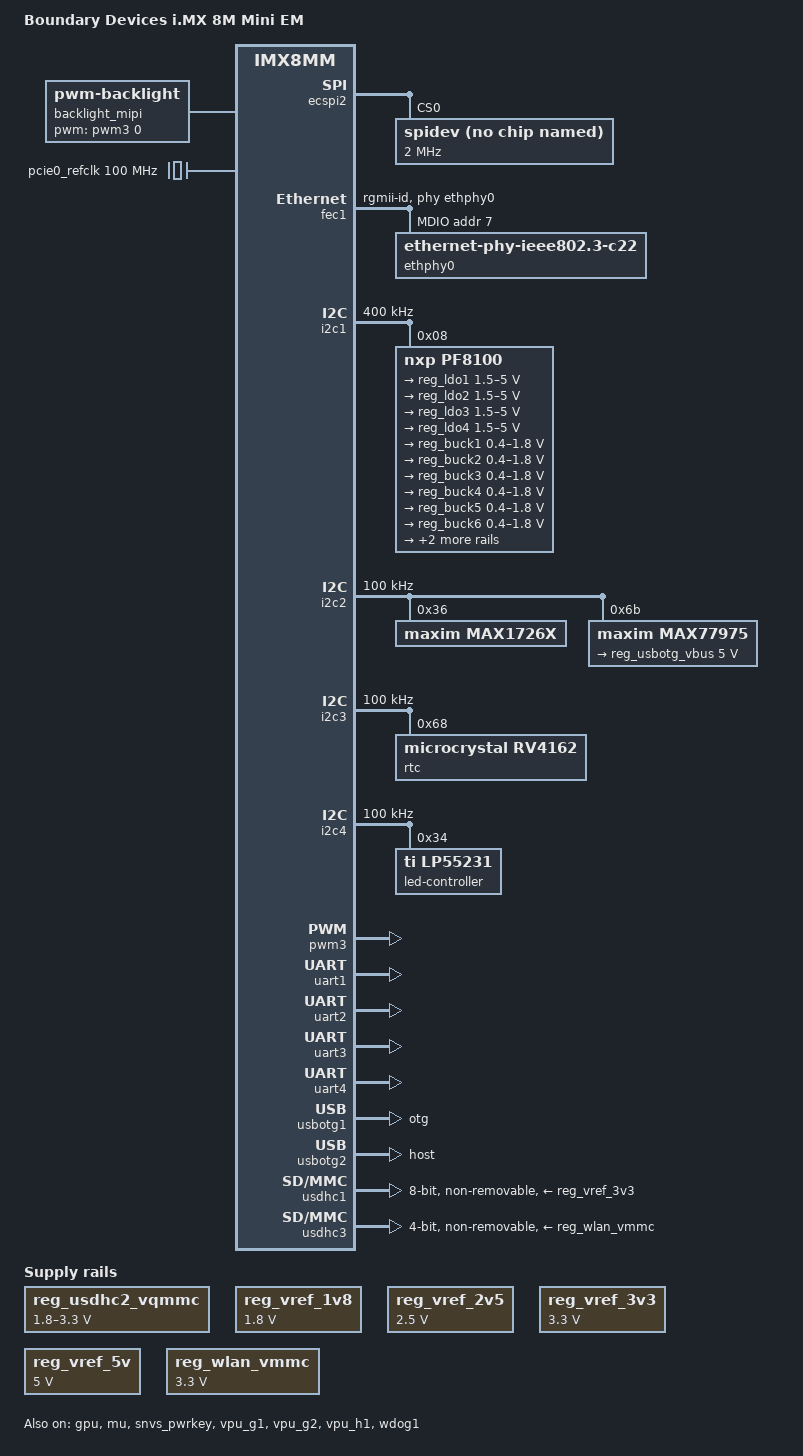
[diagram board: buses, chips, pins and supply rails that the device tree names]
// SPDX-License-Identifier: (GPL-2.0+ OR MIT)
/*
 * Copyright 2022 Boundary Devices
 */

/dts-v1/;

#include "imx8mm.dtsi"

&iomuxc {
	pinctrl-names = "default";
	pinctrl-0 = <&pinctrl_hog>;

	pinctrl_bt_rfkill: bt-rfkillgrp {
		fsl,pins = <
#define GP_BT_RFKILL_RESET	<&gpio4 25 GPIO_ACTIVE_LOW>
			MX8MM_IOMUXC_SAI2_TXC_GPIO4_IO25	0x119
		>;
	};

	pinctrl_bt2_rfkill: bt2-rfkillgrp {
		fsl,pins = <
#define GP_BT2_RFKILL_RESET	<&gpio4 1 GPIO_ACTIVE_LOW>
			MX8MM_IOMUXC_SAI1_RXC_GPIO4_IO1		0x119
		>;
	};

	pinctrl_ecspi2: ecspi2grp {
		fsl,pins = <
#define GP_ECSPI2_CS0	<&gpio5 13 GPIO_ACTIVE_LOW>
			MX8MM_IOMUXC_ECSPI2_SS0_GPIO5_IO13	0x140
			MX8MM_IOMUXC_ECSPI2_MISO_ECSPI2_MISO	0x19
			MX8MM_IOMUXC_ECSPI2_SCLK_ECSPI2_SCLK	0x19
			MX8MM_IOMUXC_ECSPI2_MOSI_ECSPI2_MOSI	0x19
			MX8MM_IOMUXC_SAI5_RXC_GPIO3_IO20	0x1c0
		>;
	};

	pinctrl_fec1: fec1grp {
		fsl,pins = <
			/* PAD_CTL_ODE is screwy on 8mm mini, avoid it */
			MX8MM_IOMUXC_ENET_MDC_ENET1_MDC			0x140
			MX8MM_IOMUXC_ENET_MDIO_ENET1_MDIO		0x00
			MX8MM_IOMUXC_ENET_RD0_ENET1_RGMII_RD0		0x91
			MX8MM_IOMUXC_ENET_RD1_ENET1_RGMII_RD1		0x91
			MX8MM_IOMUXC_ENET_RD2_ENET1_RGMII_RD2		0x91
			MX8MM_IOMUXC_ENET_RD3_ENET1_RGMII_RD3		0x91
			MX8MM_IOMUXC_ENET_RXC_ENET1_RGMII_RXC		0x91
			MX8MM_IOMUXC_ENET_RX_CTL_ENET1_RGMII_RX_CTL	0x91
			MX8MM_IOMUXC_ENET_TD0_ENET1_RGMII_TD0		0x1f
			MX8MM_IOMUXC_ENET_TD1_ENET1_RGMII_TD1		0x1f
			MX8MM_IOMUXC_ENET_TD2_ENET1_RGMII_TD2		0x1f
			MX8MM_IOMUXC_ENET_TD3_ENET1_RGMII_TD3		0x1f
			MX8MM_IOMUXC_ENET_TXC_ENET1_RGMII_TXC		0x1f
			MX8MM_IOMUXC_ENET_TX_CTL_ENET1_RGMII_TX_CTL	0x1f
#define GP_FEC1_RESET	<&gpio4 28 GPIO_ACTIVE_LOW>
			MX8MM_IOMUXC_SAI3_RXFS_GPIO4_IO28		0x159
#define GPIRQ_FEC1_PHY	<&gpio4 30 IRQ_TYPE_LEVEL_LOW>
			MX8MM_IOMUXC_SAI3_RXD_GPIO4_IO30		0x1c0
		>;
	};

	pinctrl_hog: hoggrp {
		fsl,pins = <
			MX8MM_IOMUXC_SPDIF_RX_GPIO5_IO4			0x180	/* BGM Coex 1 */
			MX8MM_IOMUXC_SPDIF_EXT_CLK_GPIO5_IO5		0x180	/* BGM Coex 2 */
			/* test points */
			MX8MM_IOMUXC_SAI1_RXD2_GPIO4_IO4		0x1c0	/* tp2 */
			MX8MM_IOMUXC_SAI1_RXD4_GPIO4_IO6		0x1c0	/* tp7 */
			MX8MM_IOMUXC_SAI1_RXD6_GPIO4_IO8		0x1c0	/* tp4 */
		>;
	};

	pinctrl_i2c1: i2c1grp {
		fsl,pins = <
			MX8MM_IOMUXC_I2C1_SCL_I2C1_SCL			0x400001c3
			MX8MM_IOMUXC_I2C1_SDA_I2C1_SDA			0x400001c3
		>;
	};

	pinctrl_i2c1_1: i2c1-1grp {
		fsl,pins = <
#define GP_I2C1_SCL	<&gpio5 14 GPIO_OPEN_DRAIN>
			MX8MM_IOMUXC_I2C1_SCL_GPIO5_IO14		0x400001c3
#define GP_I2C1_SDA	<&gpio5 15 GPIO_OPEN_DRAIN>
			MX8MM_IOMUXC_I2C1_SDA_GPIO5_IO15		0x400001c3
		>;
	};

	pinctrl_i2c1_pf8100: i2c1-pf8100grp {
		fsl,pins = <
#define GP_I2C1_PF8100_EWARN	<&gpio3 3 GPIO_ACTIVE_LOW>
			MX8MM_IOMUXC_NAND_CE2_B_GPIO3_IO3		0x149
#define GP_I2C1_PF8100_FAULT	<&gpio3 4 GPIO_ACTIVE_LOW>
			MX8MM_IOMUXC_NAND_CE3_B_GPIO3_IO4		0x149
		>;
	};

	pinctrl_i2c2: i2c2grp {
		fsl,pins = <
			MX8MM_IOMUXC_I2C2_SCL_I2C2_SCL			0x400001c3
			MX8MM_IOMUXC_I2C2_SDA_I2C2_SDA			0x400001c3
		>;
	};

	pinctrl_i2c2_1: i2c2-1grp {
		fsl,pins = <
#define GP_I2C2_SCL	<&gpio5 16 GPIO_OPEN_DRAIN>
			MX8MM_IOMUXC_I2C2_SCL_GPIO5_IO16		0x400001c3
#define GP_I2C2_SDA	<&gpio5 17 GPIO_OPEN_DRAIN>
			MX8MM_IOMUXC_I2C2_SDA_GPIO5_IO17		0x400001c3
		>;
	};

	pinctrl_i2c2_max1726x: i2c2-max1726xgrp {
		fsl,pins = <
#define GPIRQ_MAX1726X	<&gpio4 13 IRQ_TYPE_LEVEL_LOW>
			MX8MM_IOMUXC_SAI1_TXD1_GPIO4_IO13		0x1c3
		>;
	};

	pinctrl_i2c2_max77975: i2c2-max77975grp {
		fsl,pins = <
#define GP_MAX77975_STAT	<&gpio4 14 GPIO_ACTIVE_LOW>
			MX8MM_IOMUXC_SAI1_TXD2_GPIO4_IO14		0x1c0
#define GPIRQ_MAX77975	<&gpio4 15 IRQ_TYPE_LEVEL_LOW>
			MX8MM_IOMUXC_SAI1_TXD3_GPIO4_IO15		0x1c9
	/* Also to MSP430*/
#define GP_DISABLE_BATT	<&gpio4 16 GPIO_ACTIVE_HIGH>
			MX8MM_IOMUXC_SAI1_TXD4_GPIO4_IO16		0x06
#define GP_MAX77975_EXTSM	<&gpio4 17 GPIO_ACTIVE_HIGH>
			MX8MM_IOMUXC_SAI1_TXD5_GPIO4_IO17		0x1c0
#define GP_SUSPEND	<&gpio4 18 GPIO_ACTIVE_HIGH>
			MX8MM_IOMUXC_SAI1_TXD6_GPIO4_IO18		0x06
	/* MSP430*/
#define GP_MSP430_PG		<&gpio4 19 IRQ_TYPE_LEVEL_LOW>
			MX8MM_IOMUXC_SAI1_TXD7_GPIO4_IO19		0x1c0
#define GP_MSP430_AWAKEN	<&gpio4 0 IRQ_TYPE_LEVEL_LOW>
			MX8MM_IOMUXC_SAI1_RXFS_GPIO4_IO0		0x1c0
		>;
	};

	pinctrl_i2c3: i2c3grp {
		fsl,pins = <
			MX8MM_IOMUXC_I2C3_SCL_I2C3_SCL			0x400001c3
			MX8MM_IOMUXC_I2C3_SDA_I2C3_SDA			0x400001c3
		>;
	};

	pinctrl_i2c3_1: i2c3-1grp {
		fsl,pins = <
#define GP_I2C3_SCL	<&gpio5 18 GPIO_OPEN_DRAIN>
			MX8MM_IOMUXC_I2C3_SCL_GPIO5_IO18		0x400001c3
#define GP_I2C3_SDA	<&gpio5 19 GPIO_OPEN_DRAIN>
			MX8MM_IOMUXC_I2C3_SDA_GPIO5_IO19		0x400001c3
		>;
	};

	pinctrl_i2c3_rv4162: i2c3-rv4162grp {
		fsl,pins = <
#define GPIRQ_RV4162		<&gpio3 25 IRQ_TYPE_LEVEL_LOW>
			MX8MM_IOMUXC_SAI5_MCLK_GPIO3_IO25		0x1c0
		>;
	};

	pinctrl_i2c4: i2c4grp {
		fsl,pins = <
			MX8MM_IOMUXC_I2C4_SCL_I2C4_SCL			0x400001c3
			MX8MM_IOMUXC_I2C4_SDA_I2C4_SDA			0x400001c3
		>;
	};

	pinctrl_i2c4_1: i2c4-1grp {
		fsl,pins = <
#define GP_I2C4_SCL	<&gpio5 20 GPIO_OPEN_DRAIN>
			MX8MM_IOMUXC_I2C4_SCL_GPIO5_IO20		0x400001c3
#define GP_I2C4_SDA	<&gpio5 21 GPIO_OPEN_DRAIN>
			MX8MM_IOMUXC_I2C4_SDA_GPIO5_IO21		0x400001c3
		>;
	};

	pinctrl_i2c4_lp55231: i2c4-lp55231grp {
		fsl,pins = <
#define GP_LED3_EN	<&gpio3 23 GPIO_ACTIVE_HIGH>
			MX8MM_IOMUXC_SAI5_RXD2_GPIO3_IO23		0x140
#define GPIRQ_LED3	<&gpio3 24 IRQ_TYPE_LEVEL_LOW>
			MX8MM_IOMUXC_SAI5_RXD3_GPIO3_IO24		0x140
		>;
	};

	pinctrl_mipi_ltk080a60a004t: mipi-ltk080a60a004tgrp {
		fsl,pins = <
#define GP_LTK08_MIPI_EN	<&gpio1 1 GPIO_ACTIVE_HIGH>
			MX8MM_IOMUXC_GPIO1_IO01_GPIO1_IO1		0x116
		>;
	};

	pinctrl_pcie0: pcie0grp {
		fsl,pins = <
#define GP_PCIE0_RESET		<&gpio4 31 (GPIO_OPEN_DRAIN | GPIO_ACTIVE_LOW)>
			MX8MM_IOMUXC_SAI3_TXFS_GPIO4_IO31		0x100
#define GP_PCIE0_DISABLE	<&gpio3 21 (GPIO_OPEN_DRAIN | GPIO_ACTIVE_LOW)>
			MX8MM_IOMUXC_SAI5_RXD0_GPIO3_IO21		0x100
		>;
	};

	pinctrl_pwm3: pwm3grp {
		fsl,pins = <
			MX8MM_IOMUXC_SPDIF_TX_PWM3_OUT			0x16
		>;
	};

	pinctrl_reg_usdhc2_vqmmc: reg-usdhc2-vqmmcgrp {
		fsl,pins = <
#define GP_USDHC2_VSEL	<&gpio3 2 GPIO_ACTIVE_HIGH>
			MX8MM_IOMUXC_NAND_CE1_B_GPIO3_IO2		0x16
		>;
	};

	pinctrl_reg_wlan_vmmc: reg-wlan-vmmcgrp {
		fsl,pins = <
#define GP_REG_WLAN_VMMC	<&gpio4 26 GPIO_ACTIVE_HIGH>
			MX8MM_IOMUXC_SAI2_TXD0_GPIO4_IO26		0x16
		>;
	};

	pinctrl_sn65dsi83: sn65dsi83grp {
		fsl,pins = <
#define GPIRQ_SN65DSI83	<&gpio1 1 IRQ_TYPE_LEVEL_HIGH>
			MX8MM_IOMUXC_GPIO1_IO01_GPIO1_IO1		0x04
#define GP_SN65DSI83_EN	<&gpio1 9 GPIO_ACTIVE_HIGH>
			MX8MM_IOMUXC_GPIO1_IO09_GPIO1_IO9		0x106
		>;
	};

	pinctrl_ts_ft5x06: ts-ft5x06grp {
		fsl,pins = <
#define GPIRQ_TS_FT5X06	<&gpio1 6 IRQ_TYPE_EDGE_FALLING>
#define GP_TS_FT5X06_WAKE	<&gpio1 6 GPIO_ACTIVE_LOW>
			MX8MM_IOMUXC_GPIO1_IO06_GPIO1_IO6		0x149
#define GP_TS_FT5X06_RESET	<&gpio1 7 GPIO_ACTIVE_LOW>
			MX8MM_IOMUXC_GPIO1_IO07_GPIO1_IO7		0x109
		>;
	};

	pinctrl_ts_ft7250: ts-ft7250grp {
		fsl,pins = <
#define GPIRQ_TS_FT7250	<&gpio1 6 IRQ_TYPE_EDGE_FALLING>
#define GP_TS_FT7250_WAKE	<&gpio1 6 GPIO_ACTIVE_LOW>
			MX8MM_IOMUXC_GPIO1_IO06_GPIO1_IO6		0x149
#define GP_TS_FT7250_RESET	<&gpio1 7 GPIO_ACTIVE_LOW>
			MX8MM_IOMUXC_GPIO1_IO07_GPIO1_IO7		0x109
		>;
	};

	pinctrl_ts_gt911: ts-gt911grp {
		fsl,pins = <
#define GPIRQ_GT911 		<&gpio1 6 IRQ_TYPE_LEVEL_HIGH>
#define GP_GT911_IRQ 		<&gpio1 6 GPIO_ACTIVE_HIGH>
			MX8MM_IOMUXC_GPIO1_IO06_GPIO1_IO6		0x1d6
			/* driver writes levels, instead of active/inactive */
#define GP_GT911_RESET		<&gpio1 7 GPIO_ACTIVE_HIGH>
			MX8MM_IOMUXC_GPIO1_IO07_GPIO1_IO7		0x149
		>;
	};

	pinctrl_uart1: uart1grp {
		fsl,pins = <
			MX8MM_IOMUXC_UART1_RXD_UART1_DCE_RX		0x140
			MX8MM_IOMUXC_UART1_TXD_UART1_DCE_TX		0x140
			MX8MM_IOMUXC_UART3_RXD_UART1_DCE_CTS_B		0x140
			MX8MM_IOMUXC_UART3_TXD_UART1_DCE_RTS_B		0x140
		>;
	};

	pinctrl_uart2: uart2grp {
		fsl,pins = <
			MX8MM_IOMUXC_UART2_RXD_UART2_DCE_RX		0x140
			MX8MM_IOMUXC_UART2_TXD_UART2_DCE_TX		0x140
		>;
	};

	pinctrl_uart3: uart3grp {
		fsl,pins = <
			MX8MM_IOMUXC_ECSPI1_SCLK_UART3_DCE_RX		0x140
			MX8MM_IOMUXC_ECSPI1_MOSI_UART3_DCE_TX		0x140
			MX8MM_IOMUXC_ECSPI1_MISO_UART3_DCE_CTS_B	0x140
			MX8MM_IOMUXC_ECSPI1_SS0_UART3_DCE_RTS_B		0x140
		>;
	};

	pinctrl_uart4: uart4grp {
		fsl,pins = <
			MX8MM_IOMUXC_UART4_RXD_UART4_DCE_RX		0x140
			MX8MM_IOMUXC_UART4_TXD_UART4_DCE_TX		0x140
		>;
	};

	pinctrl_usbotg1: usbotg1grp {
		fsl,pins = <
			MX8MM_IOMUXC_GPIO1_IO12_USB1_OTG_PWR		0x16
			MX8MM_IOMUXC_GPIO1_IO13_USB1_OTG_OC		0x156
		>;
	};

	pinctrl_usbotg2: usbotg2grp {
		fsl,pins = <
#define GP_OTG2_HUB_RESET		<&gpio5 0 GPIO_ACTIVE_LOW>
			MX8MM_IOMUXC_SAI3_TXC_GPIO5_IO0			0x100
	/* active low because in reset group */
#define GP_5V_BOOST_EN			<&gpio3 19 GPIO_ACTIVE_LOW>
			MX8MM_IOMUXC_SAI5_RXFS_GPIO3_IO19		0x100
		>;
	};

	pinctrl_usdhc1: usdhc1grp {
		fsl,pins = <
			MX8MM_IOMUXC_SD1_CLK_USDHC1_CLK			0x190
			MX8MM_IOMUXC_SD1_CMD_USDHC1_CMD			0x1d0
			MX8MM_IOMUXC_SD1_DATA0_USDHC1_DATA0		0x1d0
			MX8MM_IOMUXC_SD1_DATA1_USDHC1_DATA1		0x1d0
			MX8MM_IOMUXC_SD1_DATA2_USDHC1_DATA2		0x1d0
			MX8MM_IOMUXC_SD1_DATA3_USDHC1_DATA3		0x1d0
			MX8MM_IOMUXC_SD1_DATA4_USDHC1_DATA4		0x1d0
			MX8MM_IOMUXC_SD1_DATA5_USDHC1_DATA5		0x1d0
			MX8MM_IOMUXC_SD1_DATA6_USDHC1_DATA6		0x1d0
			MX8MM_IOMUXC_SD1_DATA7_USDHC1_DATA7		0x1d0
#define GP_EMMC_RESET		<&gpio2 10 GPIO_ACTIVE_LOW>
			MX8MM_IOMUXC_SD1_RESET_B_GPIO2_IO10		0x141
		>;
	};

	pinctrl_usdhc1_100mhz: usdhc1grp100mhz {
		fsl,pins = <
			MX8MM_IOMUXC_SD1_CLK_USDHC1_CLK			0x194
			MX8MM_IOMUXC_SD1_CMD_USDHC1_CMD			0x1d4
			MX8MM_IOMUXC_SD1_DATA0_USDHC1_DATA0		0x1d4
			MX8MM_IOMUXC_SD1_DATA1_USDHC1_DATA1		0x1d4
			MX8MM_IOMUXC_SD1_DATA2_USDHC1_DATA2		0x1d4
			MX8MM_IOMUXC_SD1_DATA3_USDHC1_DATA3		0x1d4
			MX8MM_IOMUXC_SD1_DATA4_USDHC1_DATA4		0x1d4
			MX8MM_IOMUXC_SD1_DATA5_USDHC1_DATA5		0x1d4
			MX8MM_IOMUXC_SD1_DATA6_USDHC1_DATA6		0x1d4
			MX8MM_IOMUXC_SD1_DATA7_USDHC1_DATA7		0x1d4
		>;
	};

	pinctrl_usdhc1_200mhz: usdhc1grp200mhz {
		fsl,pins = <
			MX8MM_IOMUXC_SD1_CLK_USDHC1_CLK			0x196
			MX8MM_IOMUXC_SD1_CMD_USDHC1_CMD			0x1d6
			MX8MM_IOMUXC_SD1_DATA0_USDHC1_DATA0		0x1d6
			MX8MM_IOMUXC_SD1_DATA1_USDHC1_DATA1		0x1d6
			MX8MM_IOMUXC_SD1_DATA2_USDHC1_DATA2		0x1d6
			MX8MM_IOMUXC_SD1_DATA3_USDHC1_DATA3		0x1d6
			MX8MM_IOMUXC_SD1_DATA4_USDHC1_DATA4		0x1d6
			MX8MM_IOMUXC_SD1_DATA5_USDHC1_DATA5		0x1d6
			MX8MM_IOMUXC_SD1_DATA6_USDHC1_DATA6		0x1d6
			MX8MM_IOMUXC_SD1_DATA7_USDHC1_DATA7		0x1d6
		>;
	};

	pinctrl_usdhc3: usdhc3grp {
		fsl,pins = <
			MX8MM_IOMUXC_NAND_WE_B_USDHC3_CLK		0x190
			MX8MM_IOMUXC_NAND_WP_B_USDHC3_CMD		0x1d0
			MX8MM_IOMUXC_NAND_DATA04_USDHC3_DATA0		0x1d0
			MX8MM_IOMUXC_NAND_DATA05_USDHC3_DATA1		0x1d0
			MX8MM_IOMUXC_NAND_DATA06_USDHC3_DATA2		0x1d0
			MX8MM_IOMUXC_NAND_DATA07_USDHC3_DATA3		0x1d0
			/* Bluetooth slow clock */
			MX8MM_IOMUXC_GPIO1_IO00_ANAMIX_REF_CLK_32K	0x03
			/* CLK_REQ */
			MX8MM_IOMUXC_SAI3_RXC_GPIO4_IO29		0x140
		>;
	};

	pinctrl_usdhc3_100mhz: usdhc3grp100mhz {
		fsl,pins = <
			MX8MM_IOMUXC_NAND_WE_B_USDHC3_CLK		0x194
			MX8MM_IOMUXC_NAND_WP_B_USDHC3_CMD		0x1d4
			MX8MM_IOMUXC_NAND_DATA04_USDHC3_DATA0		0x1d4
			MX8MM_IOMUXC_NAND_DATA05_USDHC3_DATA1		0x1d4
			MX8MM_IOMUXC_NAND_DATA06_USDHC3_DATA2		0x1d4
			MX8MM_IOMUXC_NAND_DATA07_USDHC3_DATA3		0x1d4
		>;
	};

	pinctrl_usdhc3_200mhz: usdhc3grp200mhz {
		fsl,pins = <
			MX8MM_IOMUXC_NAND_WE_B_USDHC3_CLK		0x196
			MX8MM_IOMUXC_NAND_WP_B_USDHC3_CMD		0x1d6
			MX8MM_IOMUXC_NAND_DATA04_USDHC3_DATA0		0x1d6
			MX8MM_IOMUXC_NAND_DATA05_USDHC3_DATA1		0x1d6
			MX8MM_IOMUXC_NAND_DATA06_USDHC3_DATA2		0x1d6
			MX8MM_IOMUXC_NAND_DATA07_USDHC3_DATA3		0x1d6
		>;
	};

	pinctrl_wdog: wdoggrp {
		fsl,pins = <
			MX8MM_IOMUXC_GPIO1_IO02_WDOG1_WDOG_B		0x140
		>;
	};

	pinctrl_wwan_rfkill: wwan-rfkillgrp {
		fsl,pins = <
#define GP_PCIE0_RESET		<&gpio4 31 (GPIO_OPEN_DRAIN | GPIO_ACTIVE_LOW)>
			MX8MM_IOMUXC_SAI3_TXFS_GPIO4_IO31		0x140
#define GP_PCIE0_DISABLE	<&gpio3 21 (GPIO_OPEN_DRAIN | GPIO_ACTIVE_LOW)>
			MX8MM_IOMUXC_SAI5_RXD0_GPIO3_IO21		0x140
		>;
	};
};

#include "panel-ltk080a60a004t.dtsi"
#include "panel-m101nwwb.dtsi"

/ {
	model = "Boundary Devices i.MX 8M Mini EM";
	compatible = "boundary,imx8mm-em", "fsl,imx8mm";

	aliases {
		a53 = &A53_0;
		backlight_mipi = &backlight_mipi;
		fb_mipi = &fb_mipi;
		lcdif = &lcdif;
		mipi = &fb_mipi;
		mipi_dsi = &mipi_dsi;
		mipi_to_lvds = &mipi_to_lvds;
		pwm_mipi = &pwm3;
		t_mipi = &t_mipi;
		ts_ft5x06 = &ts_ft5x06;
		ts_ft7250 = &ts_ft7250;
		ts_goodix = &ts_goodix;
	};

	backlight_mipi: backlight-mipi {
		brightness-levels = <0 1 2 3 4 5 6 7 8 9 10>;
		compatible = "pwm-backlight";
		default-brightness-level = <8>;
		display = <&display_subsystem>;
		pwms = <&pwm3 0 30000 0>;	/* 33.3 Khz */
		status = "okay";
	};

	bt-rfkill {
		compatible = "net,rfkill-gpio";
		pinctrl-names = "default";
		pinctrl-0 = <&pinctrl_bt_rfkill>;
		name = "bt-rfkill";
		type = <2>; /* Bluetooth */
		reset-gpios = GP_BT_RFKILL_RESET;
		status = "okay";
	};

	bt2-rfkill {
		compatible = "net,rfkill-gpio";
		pinctrl-names = "default";
		pinctrl-0 = <&pinctrl_bt2_rfkill>;
		name = "bt2-rfkill";
		type = <2>; /* Bluetooth */
		reset-gpios = GP_BT2_RFKILL_RESET;
		status = "okay";
	};

	clocks {
		pcie0_refclk: pcie0-refclk {
			compatible = "fixed-clock";
			#clock-cells = <0>;
			clock-frequency = <100000000>;
		};
	};

	reg_usdhc2_vqmmc: regulator-usdhc2-vqmmc {
		compatible = "regulator-gpio";
		pinctrl-names = "default";
		pinctrl-0 = <&pinctrl_reg_usdhc2_vqmmc>;
		regulator-name = "reg_sd2_vsel";
		regulator-min-microvolt = <1800000>;
		regulator-max-microvolt = <3300000>;
		regulator-type = "voltage";
		regulator-boot-on;
		regulator-always-on;
		gpios = GP_USDHC2_VSEL;
		states = <1800000 0x1
			  3300000 0x0>;
	};

	reg_vref_1v8: regulator-vref-1v8 {
		compatible = "regulator-fixed";
		regulator-name = "vref-1v8";
		regulator-min-microvolt = <1800000>;
		regulator-max-microvolt = <1800000>;
	};

	reg_vref_2v5: regulator-vref-2v5 {
		compatible = "regulator-fixed";
		regulator-name = "vref-2v5";
		regulator-min-microvolt = <2500000>;
		regulator-max-microvolt = <2500000>;
	};

	reg_vref_3v3: regulator-vref-3v3 {
		compatible = "regulator-fixed";
		regulator-name = "vref-3v3";
		regulator-min-microvolt = <3300000>;
		regulator-max-microvolt = <3300000>;
	};

	reg_vref_5v: regulator-vref-5v {
		compatible = "regulator-fixed";
		regulator-name = "vref-5v";
		regulator-min-microvolt = <5000000>;
		regulator-max-microvolt = <5000000>;
	};

	reg_wlan_vmmc: regulator-wlan-vmmc {
		compatible = "regulator-fixed";
		pinctrl-names = "default";
		pinctrl-0 = <&pinctrl_reg_wlan_vmmc>;
		regulator-name = "reg_wlan_vmmc";
		regulator-min-microvolt = <3300000>;
		regulator-max-microvolt = <3300000>;
		gpio = GP_REG_WLAN_VMMC;
		startup-delay-us = <70000>;
		enable-active-high;
	};

	wwan_rfkill: wwan-rfkill {
		compatible = "net,rfkill-gpio";
		high-gpios = GP_PCIE0_DISABLE;	/* keep disable low */
		name = "wwan-rfkill";
		pinctrl-names = "default";
		pinctrl-0 = <&pinctrl_wwan_rfkill>;
		reset-gpios = GP_PCIE0_RESET;
		reset-pulse-duration = <200>;
		status = "okay";
		type = <5>;     /* WWAN */
		vdd-supply = <&reg_vref_3v3>;
		wakeup-dev = <&usbotg2>;
	};
};

&A53_0 {
	cpu-supply = <&reg_buck3>;
};

&ecspi2 {
	pinctrl-names = "default";
	pinctrl-0 = <&pinctrl_ecspi2>;
	fsl,spi-num-chipselects = <1>;
	cs-gpios = GP_ECSPI2_CS0;
	status = "okay";
	#address-cells = <1>;
	#size-cells = <0>;

	spidev@0 {
		compatible = "spidev";
		spi-max-frequency = <2000000>;
		reg = <0>;
	};
};

&fec1 {
	pinctrl-names = "default";
	pinctrl-0 = <&pinctrl_fec1>;
#if 0
	phy-reset-gpios = GP_FEC1_RESET;
#endif
	phy-mode = "rgmii-id";
	phy-handle = <&ethphy0>;
	fsl,magic-packet;
	status = "okay";

	mdio {
		#address-cells = <1>;
		#size-cells = <0>;

		ethphy0: ethernet-phy@7 {
			compatible = "ethernet-phy-ieee802.3-c22";
			interrupts-extended = GPIRQ_FEC1_PHY;
			reg = <7>;
			rxc-skew-ps = <3000>;
			rxd0-skew-ps = <0>;
			rxd1-skew-ps = <0>;
			rxd2-skew-ps = <0>;
			rxd3-skew-ps = <0>;
			rxdv-skew-ps = <0>;
			txc-skew-ps = <3000>;
			txd0-skew-ps = <0>;
			txd1-skew-ps = <0>;
			txd2-skew-ps = <0>;
			txd3-skew-ps = <0>;
			txen-skew-ps = <0>;
		};
	};
};

&gpu {
	status = "okay";
};

&i2c1 {
	clock-frequency = <400000>;
	pinctrl-names = "default", "gpio";
	pinctrl-0 = <&pinctrl_i2c1>;
	pinctrl-1 = <&pinctrl_i2c1_1>;
	scl-gpios = GP_I2C1_SCL;
	sda-gpios = GP_I2C1_SDA;
	status = "okay";

	pf8100@8 {
		compatible = "nxp,pf8100";
		pinctrl-names = "default";
		pinctrl-0 = <&pinctrl_i2c1_pf8100>;
		reg = <0x08>;

		regulators {
			reg_ldo1: ldo1 {
				regulator-always-on;
				regulator-boot-on;
				regulator-max-microvolt = <5000000>;
				regulator-min-microvolt = <1500000>;
			};

			reg_ldo2: ldo2 {
				regulator-always-on;
				regulator-boot-on;
				regulator-max-microvolt = <5000000>;
				regulator-min-microvolt = <1500000>;
			};

			reg_ldo3: ldo3 {
				regulator-always-on;
				regulator-boot-on;
				regulator-max-microvolt = <5000000>;
				regulator-min-microvolt = <1500000>;
			};

			reg_ldo4: ldo4 {
				regulator-always-on;
				regulator-boot-on;
				regulator-max-microvolt = <5000000>;
				regulator-min-microvolt = <1500000>;
			};

			reg_buck1: buck1 {
				nxp,phase-shift = <0>;
				regulator-max-microamp = <4500000>;
				regulator-always-on;
				regulator-boot-on;
				regulator-max-microvolt = <1800000>;
				regulator-min-microvolt =  <400000>;
			};

			reg_buck2: buck2 {
				regulator-always-on;
				regulator-boot-on;
				regulator-max-microvolt = <1800000>;
				regulator-min-microvolt =  <400000>;
			};

			reg_buck3: buck3 {
				regulator-always-on;
				regulator-boot-on;
				regulator-max-microvolt = <1800000>;
				regulator-min-microvolt =  <400000>;
				fast-slew = <1>;
			};

			reg_buck4: buck4 {
				alias = <&reg_buck4>;
				regulator-always-on;
				regulator-boot-on;
				regulator-max-microvolt = <1800000>;
				regulator-min-microvolt =  <400000>;
			};

			reg_buck5: buck5 {
				regulator-always-on;
				regulator-boot-on;
				regulator-max-microvolt = <1800000>;
				regulator-min-microvolt =  <400000>;
			};

			reg_buck6: buck6 {
				regulator-always-on;
				regulator-boot-on;
				regulator-max-microvolt = <1800000>;
				regulator-min-microvolt =  <400000>;
			};

			reg_buck7: buck7 {
				regulator-always-on;
				regulator-boot-on;
				regulator-max-microvolt = <4100000>;
				regulator-min-microvolt = <1000000>;
			};

			reg_vsnvs: vsnvs {
				regulator-always-on;
				regulator-boot-on;
				regulator-max-microvolt = <3300000>;
				regulator-min-microvolt = <1800000>;
			};
		};
	};
};

&i2c2 {
	clock-frequency = <100000>;
	pinctrl-names = "default", "gpio";
	pinctrl-0 = <&pinctrl_i2c2>;
	pinctrl-1 = <&pinctrl_i2c2_1>;
	scl-gpios = GP_I2C2_SCL;
	sda-gpios = GP_I2C2_SDA;
	status = "okay";

	max1726x@36 {
		compatible  = "maxim,max1726x";
		config = /bits/ 16 <0xa210>;
		reg = <0x36>;
		interrupts-extended = GPIRQ_MAX1726X;
		pinctrl-names = "default";
		pinctrl-0 = <&pinctrl_i2c2_max1726x>;
		rsense = <10>;         /* milliOhm */
		model-option = <1>;    /* EZ model */
		talrt-min = <0>;       /* DegreeC */
		talrt-max = <65>;      /* DegreeC */
		valrt-min = <3200>;    /* mV */
		valrt-max = <4500>;    /* mV */
		salrt-min = <1>;       /* Percent */
		salrt-max = <99>;      /* Percent */
		ialrt-min = <(-5000)>; /* mA */
		ialrt-max = <5000>;    /* mA */
		/* EZ model parameters */
		designcap = /bits/ 16 <0x1770>; /* 6000 mAh */
		ichgterm = /bits/ 16 <0x0640>;
		vempty = /bits/ 16 <0x9652>; /* VE: 3000mV VR: 3300mV */
		vcharge = <4200>; /* mV */
	};

	max77975@6b {
		compatible = "maxim,max77975";
		reg = <0x6b>;
		pinctrl-names = "default";
		pinctrl-0 = <&pinctrl_i2c2_max77975>;
		interrupts-extended = GPIRQ_MAX77975;
		input-voltage-min-microvolt = <4500000>;
		input-current-limit-microamp = <3200000>;
		suspend-gpios = GP_SUSPEND;
		disbatt-gpios = GP_DISABLE_BATT;

		regulators {
			reg_usbotg_vbus: otg {
				regulator-min-microvolt = <5000000>;
				regulator-max-microvolt = <5000000>;
			};
		};
	};
};

&i2c3 {
	clock-frequency = <100000>;
	pinctrl-names = "default", "gpio";
	pinctrl-0 = <&pinctrl_i2c3>;
	pinctrl-1 = <&pinctrl_i2c3_1>;
	scl-gpios = GP_I2C3_SCL;
	sda-gpios = GP_I2C3_SDA;
	status = "okay";

	ts_ft5x06: touchscreen@38 {
		compatible = "edt,ft5x06-ts";
		interrupts-extended = GPIRQ_TS_FT5X06;
		pinctrl-names = "default";
		pinctrl-0 = <&pinctrl_ts_ft5x06>;
		reg = <0x38>;
		reset-gpios = GP_TS_FT5X06_RESET;
		status = "disabled";
		wakeup-gpios = GP_TS_FT5X06_WAKE;
	};

	ts_ft7250: touchscreen_ft7250@38 {
		compatible = "edt,ft7250";
		interrupts-extended = GPIRQ_TS_FT7250;
		pinctrl-names = "default";
		pinctrl-0 = <&pinctrl_ts_ft7250>;
		reg = <0x38>;
		reset-gpios = GP_TS_FT7250_RESET;
		wakeup-gpios = GP_TS_FT7250_WAKE;
		status = "disabled";
	};

	ts_goodix: touchscreen@5d {
		compatible = "goodix,gt9271";
		display = <&display_subsystem>;
		esd-recovery-timeout-ms = <2000>;
		interrupts-extended = GPIRQ_GT911;
		irq-gpios = GP_GT911_IRQ;
		pinctrl-names = "default";
		pinctrl-0 = <&pinctrl_ts_gt911>;
		reg = <0x5d>;
		reset-gpios = GP_GT911_RESET;
		status = "disabled";
	};

	rtc@68 {
		compatible = "microcrystal,rv4162";
		pinctrl-names = "default";
		pinctrl-0 = <&pinctrl_i2c3_rv4162>;
		reg = <0x68>;
		interrupts-extended = GPIRQ_RV4162;
		wakeup-source;
	};
};

&i2c4 {
	clock-frequency = <100000>;
	pinctrl-names = "default", "gpio";
	pinctrl-0 = <&pinctrl_i2c4>;
	pinctrl-1 = <&pinctrl_i2c4_1>;
	scl-gpios = GP_I2C4_SCL;
	sda-gpios = GP_I2C4_SDA;
	status = "okay";

	led-controller@34 {
		clock-mode = /bits/ 8 <1>;
		compatible = "ti,lp55231";
		enable-gpios = GP_LED3_EN;
		interrupts-extended = GPIRQ_LED3;
		pinctrl-names = "default";
		pinctrl-0 = <&pinctrl_i2c4_lp55231>;
		reg = <0x34>;
		#address-cells = <1>;
		#size-cells = <0>;

		led@0 {
			chan-name = "d1";
			led-cur = /bits/ 8 <0x2f>;
			max-cur = /bits/ 8 <0xff>;
			reg = <0x0>;
		};

		led@1 {
			chan-name = "d2";
			led-cur = /bits/ 8 <0x2f>;
			max-cur = /bits/ 8 <0xff>;
			reg = <0x1>;
		};

		led@2 {
			chan-name = "d3";
			led-cur = /bits/ 8 <0x2f>;
			max-cur = /bits/ 8 <0xff>;
			reg = <0x2>;
		};

		led@3 {
			chan-name = "d4";
			led-cur = /bits/ 8 <0x2f>;
			max-cur = /bits/ 8 <0xff>;
			reg = <0x3>;
		};

		led@4 {
			chan-name = "d5";
			led-cur = /bits/ 8 <0x2f>;
			max-cur = /bits/ 8 <0xff>;
			reg = <0x4>;
		};

		led@5 {
			chan-name = "d6";
			led-cur = /bits/ 8 <0x2f>;
			max-cur = /bits/ 8 <0xff>;
			reg = <0x5>;
		};

		led@6 {
			chan-name = "d7";
			led-cur = /bits/ 8 <0x2f>;
			max-cur = /bits/ 8 <0xff>;
			reg = <0x6>;
		};

		led@7 {
			chan-name = "d8";
			led-cur = /bits/ 8 <0x2f>;
			max-cur = /bits/ 8 <0xff>;
			reg = <0x7>;
		};

		led@8 {
			chan-name = "d9";
			led-cur = /bits/ 8 <0x2f>;
			max-cur = /bits/ 8 <0xff>;
			reg = <0x8>;
		};
	};
};

&lcdif {
	status = "disabled";
};

&mipi_dsi {
	assigned-clocks = <&clk IMX8MM_CLK_DSI_CORE>,
			  <&clk IMX8MM_CLK_DSI_PHY_REF>,
			  <&clk IMX8MM_VIDEO_PLL1_REF_SEL>,
			  <&clk IMX8MM_CLK_LCDIF_PIXEL>;
	assigned-clock-parents = <&clk IMX8MM_SYS_PLL1_266M>,
				 <&clk IMX8MM_VIDEO_PLL1_OUT>,
				 <&clk IMX8MM_CLK_24M>;
	assigned-clock-rates = <266000000>, <0>, <0>, <66000000>;

	clocks = <&clk IMX8MM_CLK_DSI_CORE>,
		 <&clk IMX8MM_CLK_DSI_PHY_REF>,
		 <&clk IMX8MM_CLK_LCDIF_PIXEL>;
	clock-names = "cfg", "pll-ref", "pixel_clock";
	status = "disabled";

	fb_mipi: panel@0 {
		backlight = <&backlight_mipi>;
		bits-per-color = <8>;
		bridge-de-active = <0>;
		bus-format = "rgb888";
		compatible = "panel,common";
		dsi-format = "rgb888";
		dsi-lanes = <4>;
		mode-skip-eot;
		mode-video;
#if 1
		mode-video-burst;
#else
		mode-video-sync-pulse;
#endif
		panel-height-mm = <136>;
		panel-width-mm = <217>;
		power-supply = <&reg_vref_5v>;
		reg = <0>;
		pinctrl-names = "sn65dsi83";
		pinctrl-0 = <&pinctrl_sn65dsi83>;
		sn65dsi83 = <&mipi_to_lvds>;
		spwg;

		display-timings {
			t_mipi: t-dsi-default {
				/* m101nwwb by default */
				clock-frequency = <66000000>;
				hactive = <1280>;
				vactive = <800>;
				hback-porch = <5>;
				hfront-porch = <123>;
				vback-porch = <3>;
				vfront-porch = <24>;
				hsync-len = <1>;
				vsync-len = <1>;
				hsync-active = <0>;
				vsync-active = <0>;
				de-active = <1>;
			};
		};

		mipi_to_lvds: mipi-to-lvds {
			alias = <&mipi_to_lvds>;
			enable-gpios = GP_SN65DSI83_EN;
			i2c-address = <0x2c>;
			i2c-bus = <&i2c3>;
			interrupts-extended = GPIRQ_SN65DSI83;
			status = "disabled";
		};
	};
};

&mu {
	status = "okay";
};

&pcie0 {
	assigned-clocks = <&clk IMX8MM_CLK_PCIE1_AUX>,
			  <&clk IMX8MM_CLK_PCIE1_PHY>,
			  <&clk IMX8MM_CLK_PCIE1_CTRL>;
	assigned-clock-rates = <10000000>, <100000000>, <250000000>;
	assigned-clock-parents = <&clk IMX8MM_SYS_PLL2_50M>,
				 <&clk IMX8MM_SYS_PLL2_100M>,
				 <&clk IMX8MM_SYS_PLL2_250M>;
	clocks = <&clk IMX8MM_CLK_PCIE1_ROOT>,
		 <&clk IMX8MM_CLK_PCIE1_AUX>,
		 <&clk IMX8MM_CLK_PCIE1_PHY>,
		 <&pcie0_refclk>;
	clock-names = "pcie", "pcie_aux", "pcie_phy", "pcie_bus";
	disable-gpio = GP_PCIE0_DISABLE;
	ext_osc = <0>;
	l1ss-disabled;
	pinctrl-names = "default";
	pinctrl-0 = <&pinctrl_pcie0>;
	reset-gpio = GP_PCIE0_RESET;
	status = "disabled";
};

&pgc_vpumix {
	dvfs-supply = <&reg_buck5>;
	idle-microvolt = <850000 805000 900000>;
};

&pwm3 {
	pinctrl-names = "default";
	pinctrl-0 = <&pinctrl_pwm3>;
	status = "okay";
};

&snvs_pwrkey {
	status = "okay";
};

&uart1 { /* BT BGM220P */
	pinctrl-names = "default";
	pinctrl-0 = <&pinctrl_uart1>;
	assigned-clocks = <&clk IMX8MM_CLK_UART1>;
	assigned-clock-parents = <&clk IMX8MM_SYS_PLL1_80M>;
	uart-has-rtscts;
	status = "okay";
};

&uart2 { /* console */
	pinctrl-names = "default";
	pinctrl-0 = <&pinctrl_uart2>;
	assigned-clocks = <&clk IMX8MM_CLK_UART2>;
	assigned-clock-parents = <&clk IMX8MM_CLK_24M>;
	status = "okay";
};

&uart3 { /* BT Silex */
	pinctrl-names = "default";
	pinctrl-0 = <&pinctrl_uart3>;
	assigned-clocks = <&clk IMX8MM_CLK_UART3>;
	assigned-clock-parents = <&clk IMX8MM_SYS_PLL1_80M>;
	uart-has-rtscts;
	status = "okay";
};

&uart4 {
	pinctrl-names = "default";
	pinctrl-0 = <&pinctrl_uart4>;
	assigned-clocks = <&clk IMX8MM_CLK_UART4>;
	assigned-clock-parents = <&clk IMX8MM_CLK_24M>;
	status = "okay";
};

&usbotg1 {
	dr_mode = "otg";
	over-current-active-low;
	pinctrl-names = "default";
	pinctrl-0 = <&pinctrl_usbotg1>;
	power-active-high;
	status = "okay";
};

&usbotg2 {
	autosuspend-delay-ms = <15000>;
	disable-over-current;
	dr_mode = "host";
	pinctrl-names = "default";
	pinctrl-0 = <&pinctrl_usbotg2>;
	power-active-high;
	reset-gpios = GP_OTG2_HUB_RESET, GP_5V_BOOST_EN;
	status = "okay";
};

&usdhc1 {
	bus-width = <8>;
	no-mmc-hs400;
	non-removable;
	pinctrl-names = "default", "state_100mhz", "state_200mhz";
	pinctrl-0 = <&pinctrl_usdhc1>;
	pinctrl-1 = <&pinctrl_usdhc1_100mhz>;
	pinctrl-2 = <&pinctrl_usdhc1_200mhz>;
	status = "okay";
	vmmc-supply = <&reg_vref_3v3>;
	vqmmc-1-8-v;
	vqmmc-supply = <&reg_vref_1v8>;
};

&usdhc3 {
	bus-width = <4>;
	fsl,sdio-async-interrupt-enabled;
	keep-power-in-suspend;
	no-sd-uhs-sdr104;
	non-removable;
	pinctrl-names = "default", "state_100mhz", "state_200mhz";
	pinctrl-0 = <&pinctrl_usdhc3>;
	pinctrl-1 = <&pinctrl_usdhc3_100mhz>;
	pinctrl-2 = <&pinctrl_usdhc3_200mhz>;
	pm-ignore-notify;
	status = "okay";
	vmmc-supply = <&reg_wlan_vmmc>;
	vqmmc-1-8-v;
	vqmmc-supply = <&reg_vref_1v8>;
};

&vpu_g1 {
	status = "okay";
};

&vpu_g2 {
	status = "okay";
};

&vpu_h1 {
	status = "okay";
};

&wdog1 {
	pinctrl-names = "default";
	pinctrl-0 = <&pinctrl_wdog>;
	fsl,ext-reset-output;
	status = "okay";
};
